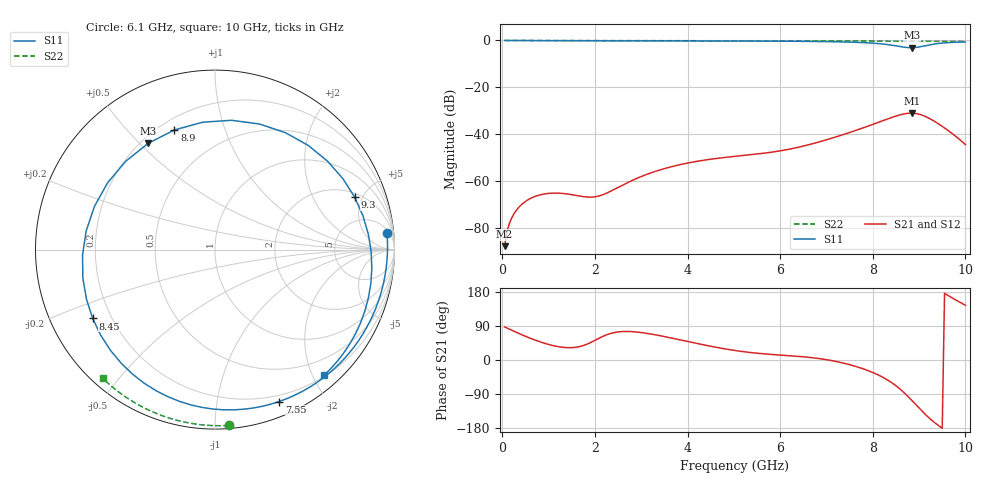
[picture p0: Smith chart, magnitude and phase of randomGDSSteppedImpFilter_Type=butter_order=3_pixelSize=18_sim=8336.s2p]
! freq	dB(S11)	phase(S11)	dB(S12)	phase(S12)
!  dB(S21)	phase(S21)	dB(S22)	phase(S22)
!S-par simulation data
#  GHz  S  DB  R 50
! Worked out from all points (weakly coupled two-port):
!   200 points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, 50 MHz to 10 GHz, reference 50 ohm
!   highest |S21| = -31.06 dB at 8.85 GHz (marker M1); lowest = -87.9 dB at 50 MHz (marker M2)
!   lowest |S11| = -3.1 dB at 8.85 GHz (marker M3), VSWR 5.65, Z = 11.4 + j26.5 ohm
!   |S11| at or under -10 dB: nowhere
!   |S22| runs from -0.4 to 0.0 dB; largest |S21 - S12| = 0
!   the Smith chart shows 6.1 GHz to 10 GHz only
!   S11 on the Smith chart (normalised r, x): 6.1 GHz: 7, +18; 7.55 GHz: 0.14, -1.50; 8.45 GHz: 0.13, -0.26; 8.9 GHz: 0.26, +0.68; 9.3 GHz: 2.30, +4.34; 10 GHz: 0.22, -2.18
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0.05  -0.00 -5.0  -87.86 87.2  -87.86 87.2  -0.00 -0.8
0.4  -0.05 -39.2  -70.38 67.7  -70.38 67.7  -0.01 -6.0
0.85  -0.09 -79.4  -65.79 46.5  -65.79 46.5  -0.02 -12.8
1.25  -0.12 -110.5  -65.26 34.4  -65.26 34.4  -0.02 -18.8
1.75  -0.13 -143.7  -66.70 38.2  -66.70 38.2  -0.03 -26.1
2.5  -0.15 174.4  -62.77 74.0  -62.77 74.0  -0.05 -37.0
3.4  -0.17 130.3  -55.32 64.3  -55.32 64.3  -0.07 -49.8
4.2  -0.20 93.1  -51.64 43.7  -51.64 43.7  -0.09 -60.8
5.05  -0.24 53.9  -49.44 24.6  -49.44 24.6  -0.11 -72.0
6.1  -0.33 5.6  -46.81 12.3  -46.81 12.3  -0.15 -85.4
6.7  -0.42 -22.5  -44.11 6.0  -44.11 6.0  -0.18 -92.8
7.55  -0.73 -67.1  -38.99 -14.0  -38.99 -14.0  -0.23 -103.1
8  -1.15 -98.8  -35.87 -33.0  -35.87 -33.0  -0.26 -108.3
8.35  -1.84 -136.0  -33.32 -55.1  -33.32 -55.1  -0.29 -112.4
8.45  -2.14 -150.6  -32.62 -63.3  -32.62 -63.3  -0.30 -113.5
8.65  -2.79 171.7  -31.48 -83.2  -31.48 -83.2  -0.31 -115.8
8.85  -3.11 122.1  -31.06 -107.5  -31.06 -107.5  -0.33 -118.1
8.9  -3.05 108.8  -31.13 -114.0  -31.13 -114.0  -0.33 -118.7
9.05  -2.59 70.4  -31.80 -133.4  -31.80 -133.4  -0.35 -120.4
9.3  -1.61 20.6  -34.15 -161.8  -34.15 -161.8  -0.37 -123.2
9.55  -1.03 -12.4  -37.37 176.0  -37.37 176.0  -0.39 -126.1
10  -0.66 -49.0  -44.49 144.4  -44.49 144.4  -0.44 -131.1
